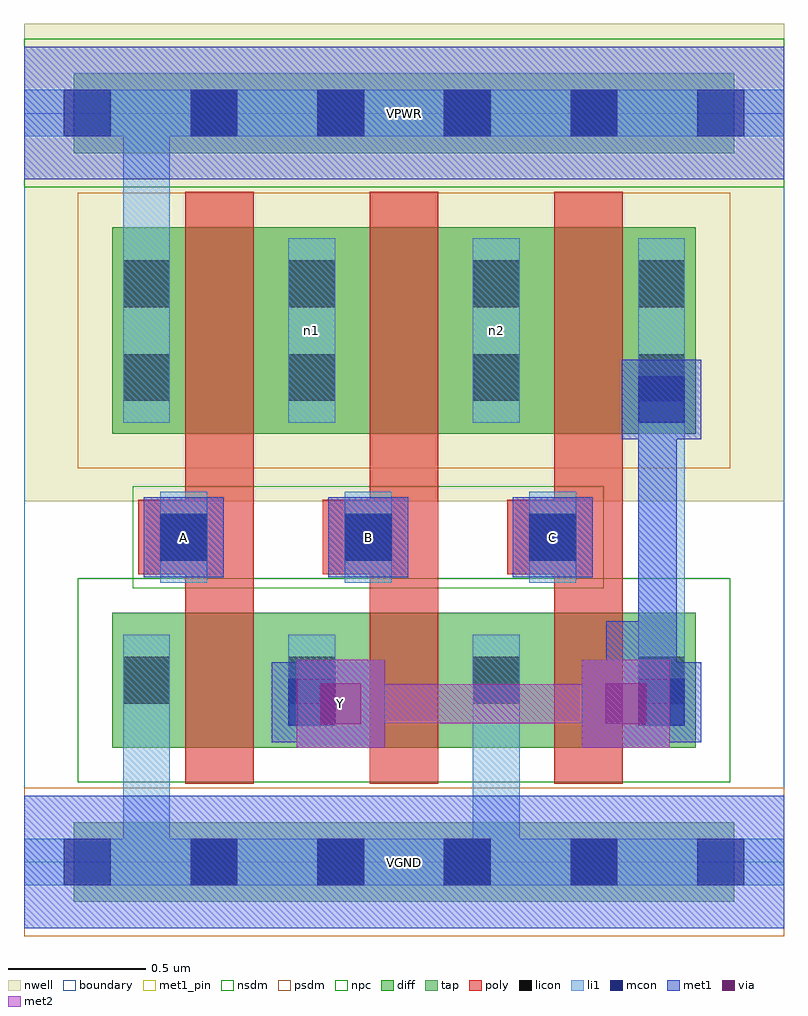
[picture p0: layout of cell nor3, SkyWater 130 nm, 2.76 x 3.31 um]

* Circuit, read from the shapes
.subckt nor3 A B C VGND VPWR Y n1 n2
XM1 Y A VGND VGND sky130_fd_pr__nfet_01v8 w=0.49 l=0.25
XM2 VGND B Y VGND sky130_fd_pr__nfet_01v8 w=0.49 l=0.25
XM3 Y C VGND VGND sky130_fd_pr__nfet_01v8 w=0.49 l=0.25
XM4 n1 A VPWR VPWR sky130_fd_pr__pfet_01v8 w=0.75 l=0.25
XM5 n2 B n1 VPWR sky130_fd_pr__pfet_01v8 w=0.75 l=0.25
XM6 Y C n2 VPWR sky130_fd_pr__pfet_01v8 w=0.75 l=0.25
.ends

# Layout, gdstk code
import gdstk
lib = gdstk.Library(unit=1e-6, precision=1e-09)
def R(c, l, rs):  # rectangles x0, y0, x1, y1
    for r in rs: c.add(gdstk.rectangle(r[:2], r[2:], *l))
def A(c, l, x, y, w, h, nx, ny, dx, dy):  # array of equal rectangles
    R(c, l, [(x+i*dx, y+j*dy, x+i*dx+w, y+j*dy+h) for i in range(nx) for j in range(ny)])
nwell = (64, 20)
diff = (65, 20)
tap = (65, 44)
poly = (66, 20)
licon = (66, 44)
li1 = (67, 20)
mcon = (67, 44)
met1_pin = (68, 16)
met1 = (68, 20)
via = (68, 44)
met2 = (69, 20)
nsdm = (93, 44)
psdm = (94, 20)
npc = (95, 20)
boundary = (235, 4)

nor3 = lib.new_cell('nor3')
R(nor3, nwell, [(0,1.31,2.76,3.045)])
R(nor3, diff, [(0.32,0.415,2.44,0.905), (0.32,1.555,2.44,2.305)])
R(nor3, tap, [(0.18,-0.145,2.58,0.145), (0.18,2.575,2.58,2.865)])
A(nor3, poly, 0.585, 0.285, 0.25, 2.15, 3, 1, 0.67, 0)
A(nor3, poly, 0.415, 1.045, 0.33, 0.27, 3, 1, 0.67, 0)
A(nor3, licon, 0.605, -0.085, 0.17, 0.17, 4, 2, 0.46, 2.72)
A(nor3, licon, 0.495, 1.095, 0.17, 0.17, 3, 1, 0.67, 0)
R(nor3, licon, [(0.36,0.575,0.53,0.745), (0.96,0.575,1.13,0.745), (1.63,0.575,1.8,0.745), (2.23,0.575,2.4,0.745), (0.36,1.675,0.53,1.845), (0.96,1.675,1.13,1.845), (1.63,1.675,1.8,1.845), (2.23,1.675,2.4,1.845), (0.36,2.015,0.53,2.185), (0.96,2.015,1.13,2.185), (1.63,2.015,1.8,2.185), (2.23,2.015,2.4,2.185)])
A(nor3, li1, 0.495, 1.015, 0.17, 0.33, 3, 1, 0.67, 0)
R(nor3, li1, [(0,-0.085,2.76,0.085), (0.36,-0.085,0.53,0.825), (1.63,-0.085,1.8,0.825), (0.36,0.495,0.53,0.825), (0.96,0.495,1.13,0.825), (1.63,0.495,1.8,0.825), (2.23,0.495,2.4,0.825), (2.23,0.495,2.4,2.265), (0.36,1.595,0.53,2.265), (0.36,1.595,0.53,2.805), (0.96,1.595,1.13,2.265), (1.63,1.595,1.8,2.265), (2.23,1.595,2.4,2.265), (0,2.635,2.76,2.805)])
A(nor3, mcon, 0.145, -0.085, 0.17, 0.17, 6, 2, 0.46, 2.72)
A(nor3, mcon, 0.495, 1.095, 0.17, 0.17, 3, 1, 0.67, 0)
R(nor3, mcon, [(0.96,0.495,1.13,0.665), (2.23,0.495,2.4,0.665), (2.23,1.595,2.4,1.765)])
A(nor3, met1_pin, 0.435, 1.035, 0.29, 0.29, 3, 1, 0.67, 0)
R(nor3, met1_pin, [(0,-0.24,2.76,0.24), (0.99,0.415,1.31,0.735), (0,2.48,2.76,2.96)])
A(nor3, met1, 0.435, 1.035, 0.29, 0.29, 3, 1, 0.67, 0)
R(nor3, met1, [(0,-0.24,2.76,0.24), (0.99,0.415,1.31,0.735), (2.025,0.415,2.345,0.735), (0.9,0.435,1.19,0.725), (2.17,0.435,2.46,0.725), (1.08,0.505,1.22,0.65), (2.115,0.505,2.255,0.65), (2.115,0.505,2.255,0.875), (0.975,0.51,1.22,0.65), (2.115,0.51,2.385,0.65), (2.115,0.65,2.37,0.735), (2.115,0.735,2.37,0.875), (2.23,0.735,2.37,1.565), (2.23,1.425,2.37,1.75), (2.17,1.535,2.46,1.825), (2.23,1.61,2.385,1.75), (0,2.48,2.76,2.96)])
R(nor3, via, [(1.075,0.5,1.225,0.65), (2.11,0.5,2.26,0.65)])
R(nor3, met2, [(0.99,0.415,1.31,0.735), (2.025,0.415,2.345,0.735), (1.08,0.505,2.255,0.645)])
R(nor3, nsdm, [(0.195,0.29,2.565,1.03), (0,2.45,2.76,2.99)])
R(nor3, psdm, [(0,-0.27,2.76,0.27), (0.195,1.43,2.565,2.43)])
R(nor3, npc, [(0.395,0.995,2.105,1.365)])
R(nor3, boundary, [(0,0,2.76,2.72)])
nor3.add(gdstk.Label('n1', (1.045,1.93), layer=67, texttype=5))
nor3.add(gdstk.Label('n2', (1.715,1.93), layer=67, texttype=5))
nor3.add(gdstk.Label('A', (0.58,1.18), layer=68, texttype=5))
nor3.add(gdstk.Label('B', (1.25,1.18), layer=68, texttype=5))
nor3.add(gdstk.Label('C', (1.92,1.18), layer=68, texttype=5))
nor3.add(gdstk.Label('Y', (1.15,0.575), layer=68, texttype=5))
nor3.add(gdstk.Label('VPWR', (1.38,2.72), layer=68, texttype=5))
nor3.add(gdstk.Label('VGND', (1.38,0), layer=68, texttype=5))
nor3.add(gdstk.Label('A', (0.58,1.18), layer=68, texttype=16))
nor3.add(gdstk.Label('B', (1.25,1.18), layer=68, texttype=16))
nor3.add(gdstk.Label('C', (1.92,1.18), layer=68, texttype=16))
nor3.add(gdstk.Label('Y', (1.15,0.575), layer=68, texttype=16))
nor3.add(gdstk.Label('VPWR', (1.38,2.72), layer=68, texttype=16))
nor3.add(gdstk.Label('VGND', (1.38,0), layer=68, texttype=16))

lib.write_gds('nor3.gds')
